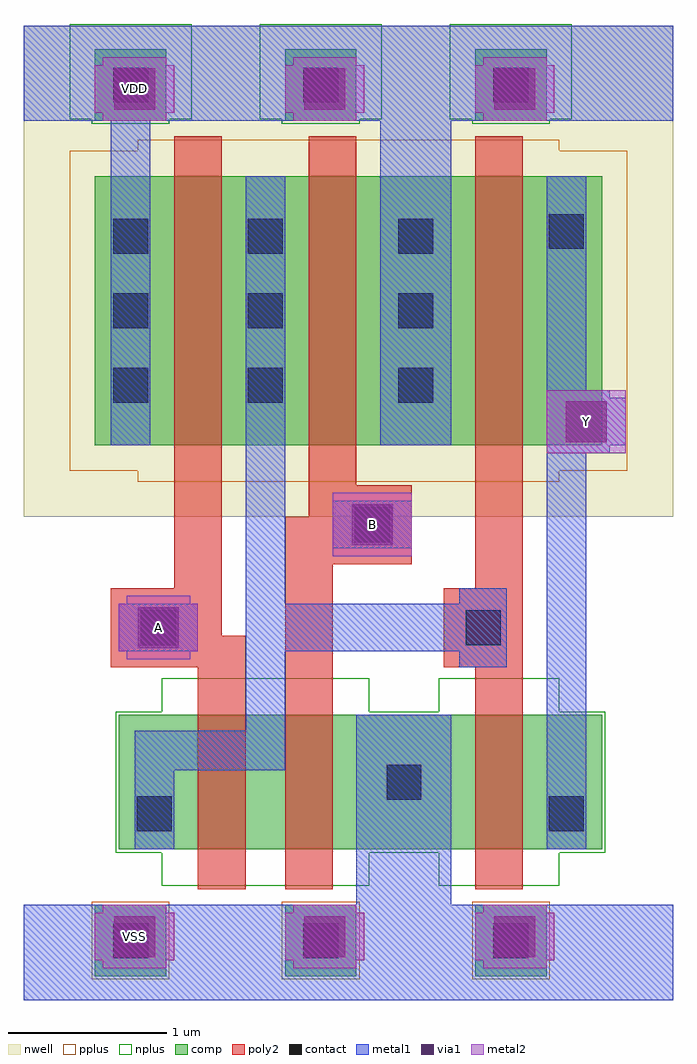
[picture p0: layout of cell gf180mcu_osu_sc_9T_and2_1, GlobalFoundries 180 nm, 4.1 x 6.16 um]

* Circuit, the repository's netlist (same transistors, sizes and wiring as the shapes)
* Copyright 2022 Google LLC
*
* Licensed under the Apache License, Version 2.0 (the "License");
* you may not use this file except in compliance with the License.
* You may obtain a copy of the License at
*
*      http://www.apache.org/licenses/LICENSE-2.0
*
* Unless required by applicable law or agreed to in writing, software
* distributed under the License is distributed on an "AS IS" BASIS,
* WITHOUT WARRANTIES OR CONDITIONS OF ANY KIND, either express or implied.
* See the License for the specific language governing permissions and
* limitations under the License.

.option scale=0.05u

.subckt gf180mcu_osu_sc_9T_and2_1 A B Y
X0 VDD B a_12_19 VDD pmos_3p3 w=34 l=6
X1 Y a_12_19 VSS VSS nmos_3p3 w=17 l=6
X2 Y a_12_19 VDD VDD pmos_3p3 w=34 l=6
X3 a_12_19 A VDD VDD pmos_3p3 w=34 l=6
X4 a_28_19 A a_12_19 VSS nmos_3p3 w=17 l=6
X5 VSS B a_28_19 VSS nmos_3p3 w=17 l=6
.ends

** hspice subcircuit dictionary

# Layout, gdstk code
import gdstk
lib = gdstk.Library(unit=1e-6, precision=1e-09)
def R(c, l, rs):  # rectangles x0, y0, x1, y1
    for r in rs: c.add(gdstk.rectangle(r[:2], r[2:], *l))
def A(c, l, x, y, w, h, nx, ny, dx, dy):  # array of equal rectangles
    R(c, l, [(x+i*dx, y+j*dy, x+i*dx+w, y+j*dy+h) for i in range(nx) for j in range(ny)])
nwell = (21, 0)
comp = (22, 0)
poly2 = (30, 0)
pplus = (31, 0)
nplus = (32, 0)
contact = (33, 0)
metal1 = (34, 0)
via1 = (35, 0)
metal2 = (36, 0)

gf180mcu_osu_sc_9t_and2_ = lib.new_cell('gf180mcu_osu_sc_9T_and2_1')
R(gf180mcu_osu_sc_9t_and2_, nwell, [(0,3.05,4.1,6.15)])
A(gf180mcu_osu_sc_9t_and2_, comp, 0.45, 0.15, 0.45, 0.45, 3, 2, 1.2, 5.4)
R(gf180mcu_osu_sc_9t_and2_, comp, [(0.6,0.95,3.65,1.8), (0.45,3.5,3.65,5.2)])
R(gf180mcu_osu_sc_9t_and2_, poly2, [(1.1,0.7,1.4,2.1), (1.65,0.7,1.95,2.75), (2.85,0.7,3.15,2.1), (0.55,2.1,1.4,2.3), (2.65,2.1,3.15,2.6), (0.55,2.3,1.25,2.6), (0.95,2.6,1.25,5.45), (2.85,2.6,3.15,5.45), (1.65,2.75,2.45,3.05), (1.8,3.05,2.45,3.25), (1.8,3.25,2.1,5.45)])
A(gf180mcu_osu_sc_9t_and2_, pplus, 0.43, 0.13, 0.49, 0.49, 3, 1, 1.2, 0)
R(gf180mcu_osu_sc_9t_and2_, pplus, [(0.72,3.27,3.38,3.34), (0.29,3.34,3.81,5.36), (0.72,5.36,3.38,5.43)])
A(gf180mcu_osu_sc_9t_and2_, nplus, 0.43, 5.53, 0.49, 0.03, 3, 1, 1.2, 0)
A(gf180mcu_osu_sc_9t_and2_, nplus, 0.29, 5.56, 0.77, 0.6, 3, 1, 1.2, 0)
R(gf180mcu_osu_sc_9t_and2_, nplus, [(0.87,0.72,2.18,0.93), (2.62,0.72,3.38,0.93), (0.58,0.93,3.67,1.82), (0.87,1.82,2.18,2.03), (2.62,1.82,3.38,2.03)])
A(gf180mcu_osu_sc_9t_and2_, contact, 0.565, 0.265, 0.22, 0.22, 3, 2, 1.2, 5.4)
A(gf180mcu_osu_sc_9t_and2_, contact, 0.565, 3.77, 0.22, 0.22, 1, 3, 0, 0.47)
A(gf180mcu_osu_sc_9t_and2_, contact, 1.415, 3.77, 0.22, 0.22, 1, 3, 0, 0.47)
A(gf180mcu_osu_sc_9t_and2_, contact, 2.365, 3.77, 0.22, 0.22, 1, 3, 0, 0.47)
R(gf180mcu_osu_sc_9t_and2_, contact, [(0.715,1.065,0.935,1.285), (3.315,1.065,3.535,1.285), (2.29,1.265,2.51,1.485), (0.74,2.24,0.96,2.46), (2.79,2.24,3.01,2.46), (2.09,2.89,2.31,3.11), (3.315,4.74,3.535,4.96)])
R(gf180mcu_osu_sc_9t_and2_, metal1, [(0,0,4.1,0.6), (2.1,0.6,2.7,1.8), (0.7,0.95,0.95,1.45), (3.3,0.95,3.55,3.45), (0.7,1.45,1.65,1.7), (1.4,1.7,1.65,2.2), (2.75,2.1,3.05,2.2), (0.6,2.2,1.1,2.5), (1.4,2.2,3.05,2.5), (1.4,2.5,1.65,5.2), (2.75,2.5,3.05,2.6), (1.95,2.85,2.45,3.15), (3.3,3.45,3.7,3.5), (0.55,3.5,0.8,5.55), (2.25,3.5,2.7,5.55), (3.3,3.5,3.8,3.8), (3.3,3.8,3.7,3.85), (3.3,3.85,3.55,5.2), (0,5.55,4.1,6.15)])
A(gf180mcu_osu_sc_9t_and2_, via1, 0.57, 0.27, 0.26, 0.26, 3, 2, 1.2, 5.35)
R(gf180mcu_osu_sc_9t_and2_, via1, [(0.72,2.22,0.98,2.48), (2.07,2.87,2.33,3.13), (3.42,3.52,3.68,3.78)])
A(gf180mcu_osu_sc_9t_and2_, metal2, 0.5, 0.2, 0.4, 0.05, 3, 2, 1.2, 0.35)
A(gf180mcu_osu_sc_9t_and2_, metal2, 0.45, 0.25, 0.5, 0.3, 3, 2, 1.2, 5.35)
A(gf180mcu_osu_sc_9t_and2_, metal2, 0.5, 5.55, 0.4, 0.05, 3, 2, 1.2, 0.35)
R(gf180mcu_osu_sc_9t_and2_, metal2, [(0.65,2.15,1.05,2.2), (0.6,2.2,1.1,2.5), (0.65,2.5,1.05,2.55), (1.95,2.8,2.45,3.2), (3.3,3.45,3.8,3.85)])
gf180mcu_osu_sc_9t_and2_.add(gdstk.Label('VDD', (0.7,5.75), layer=36, texttype=0))
gf180mcu_osu_sc_9t_and2_.add(gdstk.Label('VSS', (0.7,0.4), layer=36, texttype=0))
gf180mcu_osu_sc_9t_and2_.add(gdstk.Label('A', (0.85,2.35), layer=36, texttype=10))
gf180mcu_osu_sc_9t_and2_.add(gdstk.Label('B', (2.2,3), layer=36, texttype=10))
gf180mcu_osu_sc_9t_and2_.add(gdstk.Label('Y', (3.55,3.65), layer=36, texttype=10))

lib.write_gds('gf180mcu_osu_sc_9T_and2_1.gds')
